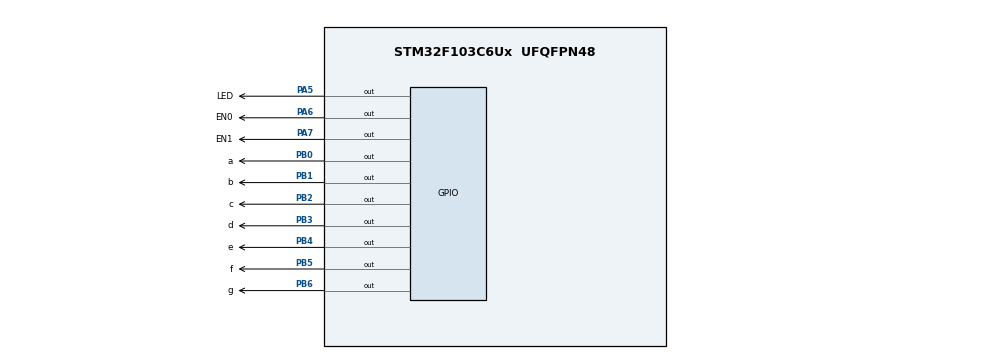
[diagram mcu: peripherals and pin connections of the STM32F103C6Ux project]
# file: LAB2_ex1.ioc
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Mcu.Family=STM32F1
Mcu.Name=STM32F103C6Ux
Mcu.Package=UFQFPN48
NVIC.PriorityGroup=NVIC_PRIORITYGROUP_4
NVIC.TIM2_IRQn=true\:0\:0\:false\:false\:true\:true\:true
PA5.GPIO_Label=LED
PA5.Signal=GPIO_Output
PA6.GPIO_Label=EN0
PA6.Signal=GPIO_Output
PA7.GPIO_Label=EN1
PA7.Signal=GPIO_Output
PB0.GPIO_Label=a
PB0.Signal=GPIO_Output
PB1.GPIO_Label=b
PB1.Signal=GPIO_Output
PB2.GPIO_Label=c
PB2.Signal=GPIO_Output
PB3.GPIO_Label=d
PB3.Signal=GPIO_Output
PB4.GPIO_Label=e
PB4.Signal=GPIO_Output
PB5.GPIO_Label=f
PB5.Signal=GPIO_Output
PB6.GPIO_Label=g
PB6.Signal=GPIO_Output
ProjectManager.HeapSize=0x200
ProjectManager.StackSize=0x400
ProjectManager.TargetToolchain=STM32CubeIDE
RCC.APB1Freq_Value=8000000
RCC.APB2Freq_Value=8000000
TIM2.Period=9
TIM2.Prescaler=7999
VP_SYS_VS_ND.Mode=No_Debug
VP_TIM2_VS_ClockSourceINT.Mode=Internal
board=custom

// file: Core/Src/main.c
/* USER CODE BEGIN Header */
/**
  ******************************************************************************
  * @file           : main.c
  * @brief          : Main program body
  ******************************************************************************
  * @attention
  *
  * <h2><center>&copy; Copyright (c) 2025 STMicroelectronics.
  * All rights reserved.</center></h2>
  *
  * This software component is licensed by ST under BSD 3-Clause license,
  * the "License"; You may not use this file except in compliance with the
  * License. You may obtain a copy of the License at:
  *                        opensource.org/licenses/BSD-3-Clause
  *
  ******************************************************************************
  */
/* USER CODE END Header */
#include "main.h"

TIM_HandleTypeDef htim2;

void SystemClock_Config(void);
static void MX_TIM2_Init(void);
static void MX_GPIO_Init(void);

typedef struct {uint8_t a,b,c,d,e,f,g;} SEG7; // dung cho LED
	SEG7 numbers[10] = { //1 = on, 0 = off
			{1,1,1,1,1,1,0}, //0
			{0,1,1,0,0,0,0}, //1
			{1,1,0,1,1,0,1}, //2
			{1,1,1,1,0,0,1}, //3
			{0,1,1,0,0,1,1}, //4
			{1,0,1,1,0,1,1}, //5
			{1,0,1,1,1,1,1}, //6
			{1,1,1,0,0,0,0}, //7
			{1,1,1,1,1,1,1}, //8
			{1,1,1,1,0,1,1}, //9
		};

void display7SEG(int num){
	SEG7 n = numbers[num];

	HAL_GPIO_WritePin(GPIOB, GPIO_PIN_0, n.a ? GPIO_PIN_RESET : GPIO_PIN_SET); // n.a = 1 thi on, khong thi off
	HAL_GPIO_WritePin(GPIOB, GPIO_PIN_1, n.b ? GPIO_PIN_RESET : GPIO_PIN_SET);
	HAL_GPIO_WritePin(GPIOB, GPIO_PIN_2, n.c ? GPIO_PIN_RESET : GPIO_PIN_SET);
	HAL_GPIO_WritePin(GPIOB, GPIO_PIN_3, n.d ? GPIO_PIN_RESET : GPIO_PIN_SET);
	HAL_GPIO_WritePin(GPIOB, GPIO_PIN_4, n.e ? GPIO_PIN_RESET : GPIO_PIN_SET);
	HAL_GPIO_WritePin(GPIOB, GPIO_PIN_5, n.f ? GPIO_PIN_RESET : GPIO_PIN_SET);
	HAL_GPIO_WritePin(GPIOB, GPIO_PIN_6, n.g ? GPIO_PIN_RESET : GPIO_PIN_SET);
}

int main(void)
<<<<<<< HEAD
 {
 HAL_Init();
 SystemClock_Config();

 MX_GPIO_Init();
 MX_TIM2_Init();

 /* USER CODE BEGIN 2 */
 HAL_TIM_Base_Start_IT(&htim2);
 /* USER CODE END 2 */

 	 while (1){

 	 }
 }
=======
{

  /* MCU Configuration--------------------------------------------------------*/

  /* Reset of all peripherals, Initializes the Flash interface and the Systick. */
  HAL_Init();

  /* Configure the system clock */
  SystemClock_Config();

  /* Initialize all configured peripherals */
  MX_TIM2_Init();
  MX_GPIO_Init();
  /* USER CODE BEGIN 2 */
  HAL_TIM_Base_Start_IT(&htim2);
  /* USER CODE END 2 */

  /* Infinite loop */
  while (1)
  {

  }
}
>>>>>>> e98d3f2975c12c5bcdd7daffa4b3a7127e4e4205

void SystemClock_Config(void)
{
  RCC_OscInitTypeDef RCC_OscInitStruct = {0};
  RCC_ClkInitTypeDef RCC_ClkInitStruct = {0};

  /** Initializes the RCC Oscillators according to the specified parameters
  * in the RCC_OscInitTypeDef structure.
  */
  RCC_OscInitStruct.OscillatorType = RCC_OSCILLATORTYPE_HSI;
  RCC_OscInitStruct.HSIState = RCC_HSI_ON;
  RCC_OscInitStruct.HSICalibrationValue = RCC_HSICALIBRATION_DEFAULT;
  RCC_OscInitStruct.PLL.PLLState = RCC_PLL_NONE;
  if (HAL_RCC_OscConfig(&RCC_OscInitStruct) != HAL_OK)
  {
    Error_Handler();
  }
  /** Initializes the CPU, AHB and APB buses clocks
  */
  RCC_ClkInitStruct.ClockType = RCC_CLOCKTYPE_HCLK|RCC_CLOCKTYPE_SYSCLK
                              |RCC_CLOCKTYPE_PCLK1|RCC_CLOCKTYPE_PCLK2;
  RCC_ClkInitStruct.SYSCLKSource = RCC_SYSCLKSOURCE_HSI;
  RCC_ClkInitStruct.AHBCLKDivider = RCC_SYSCLK_DIV1;
  RCC_ClkInitStruct.APB1CLKDivider = RCC_HCLK_DIV1;
  RCC_ClkInitStruct.APB2CLKDivider = RCC_HCLK_DIV1;

  if (HAL_RCC_ClockConfig(&RCC_ClkInitStruct, FLASH_LATENCY_0) != HAL_OK)
  {
    Error_Handler();
  }
}

static void MX_TIM2_Init(void)
{

  TIM_ClockConfigTypeDef sClockSourceConfig = {0};
  TIM_MasterConfigTypeDef sMasterConfig = {0};

  htim2.Instance = TIM2;
  htim2.Init.Prescaler = 7999;
  htim2.Init.CounterMode = TIM_COUNTERMODE_UP;
  htim2.Init.Period = 9;
  htim2.Init.ClockDivision = TIM_CLOCKDIVISION_DIV1;
  htim2.Init.AutoReloadPreload = TIM_AUTORELOAD_PRELOAD_DISABLE;
  if (HAL_TIM_Base_Init(&htim2) != HAL_OK)
  {
    Error_Handler();
  }
  sClockSourceConfig.ClockSource = TIM_CLOCKSOURCE_INTERNAL;
  if (HAL_TIM_ConfigClockSource(&htim2, &sClockSourceConfig) != HAL_OK)
  {
    Error_Handler();
  }
  sMasterConfig.MasterOutputTrigger = TIM_TRGO_RESET;
  sMasterConfig.MasterSlaveMode = TIM_MASTERSLAVEMODE_DISABLE;
  if (HAL_TIMEx_MasterConfigSynchronization(&htim2, &sMasterConfig) != HAL_OK)
  {
    Error_Handler();
  }

}

static void MX_GPIO_Init(void)
{
  GPIO_InitTypeDef GPIO_InitStruct = {0};

  /* GPIO Ports Clock Enable */
  __HAL_RCC_GPIOA_CLK_ENABLE();
<<<<<<< HEAD
  __HAL_RCC_GPIOB_CLK_ENABLE();

  /*Configure GPIO pin Output Level */
  HAL_GPIO_WritePin(GPIOA, LED_Pin|EN0_Pin|EN1_Pin, GPIO_PIN_RESET);

  /*Configure GPIO pin Output Level */
  HAL_GPIO_WritePin(GPIOB, a_Pin|b_Pin|c_Pin|d_Pin
                          |e_Pin|f_Pin|g_Pin, GPIO_PIN_RESET);

  /*Configure GPIO pins : LED_Pin EN0_Pin EN1_Pin */
  GPIO_InitStruct.Pin = LED_Pin|EN0_Pin|EN1_Pin;
  GPIO_InitStruct.Mode = GPIO_MODE_OUTPUT_PP;
  GPIO_InitStruct.Pull = GPIO_NOPULL;
  GPIO_InitStruct.Speed = GPIO_SPEED_FREQ_LOW;
  HAL_GPIO_Init(GPIOA, &GPIO_InitStruct);

  /*Configure GPIO pins : a_Pin b_Pin c_Pin d_Pin
                           e_Pin f_Pin g_Pin */
  GPIO_InitStruct.Pin = a_Pin|b_Pin|c_Pin|d_Pin
                          |e_Pin|f_Pin|g_Pin;
  GPIO_InitStruct.Mode = GPIO_MODE_OUTPUT_PP;
  GPIO_InitStruct.Pull = GPIO_NOPULL;
  GPIO_InitStruct.Speed = GPIO_SPEED_FREQ_LOW;
  HAL_GPIO_Init(GPIOB, &GPIO_InitStruct);
=======

  /*Configure GPIO pin Output Level */
  HAL_GPIO_WritePin(LED_GPIO_Port, LED_Pin, GPIO_PIN_RESET);

  /*Configure GPIO pin : LED_Pin */
  GPIO_InitStruct.Pin = LED_Pin;
  GPIO_InitStruct.Mode = GPIO_MODE_OUTPUT_PP;
  GPIO_InitStruct.Pull = GPIO_NOPULL;
  GPIO_InitStruct.Speed = GPIO_SPEED_FREQ_LOW;
  HAL_GPIO_Init(LED_GPIO_Port, &GPIO_InitStruct);
>>>>>>> e98d3f2975c12c5bcdd7daffa4b3a7127e4e4205

}

/* USER CODE BEGIN 4 */
int counter = 100;
 void HAL_TIM_PeriodElapsedCallback(TIM_HandleTypeDef *htim)
 {
	 if (counter == 100){
	  display7SEG(1);
<<<<<<< HEAD
	  HAL_GPIO_WritePin(EN0_GPIO_Port, EN0_Pin, GPIO_PIN_RESET);
	  HAL_GPIO_WritePin(EN1_GPIO_Port, EN1_Pin, GPIO_PIN_SET);
	  }
	 else if (counter == 50){
	  display7SEG(2);
	  HAL_GPIO_WritePin(EN0_GPIO_Port, EN0_Pin, GPIO_PIN_SET);
	  HAL_GPIO_WritePin(EN1_GPIO_Port, EN1_Pin, GPIO_PIN_RESET);
=======
	  HAL_GPIO_WritePin(EN0_GPIO_Port, EN0_Pin, RESET);
	  HAL_GPIO_WritePin(EN1_GPIO_Port, EN1_Pin, SET);
	  }
	 else if (counter == 50){
	  display7SEG(2);
	  HAL_GPIO_WritePin(EN0_GPIO_Port, EN0_Pin, SET);
	  HAL_GPIO_WritePin(EN1_GPIO_Port, EN1_Pin, RESET);
>>>>>>> e98d3f2975c12c5bcdd7daffa4b3a7127e4e4205
	  }
	  counter = (counter > 0) ? counter-1 : 100;
 }
/* USER CODE END 4 */

void Error_Handler(void)
{
  __disable_irq();
  while (1)
  {
  }
}

/************************ (C) COPYRIGHT STMicroelectronics *****END OF FILE****/
